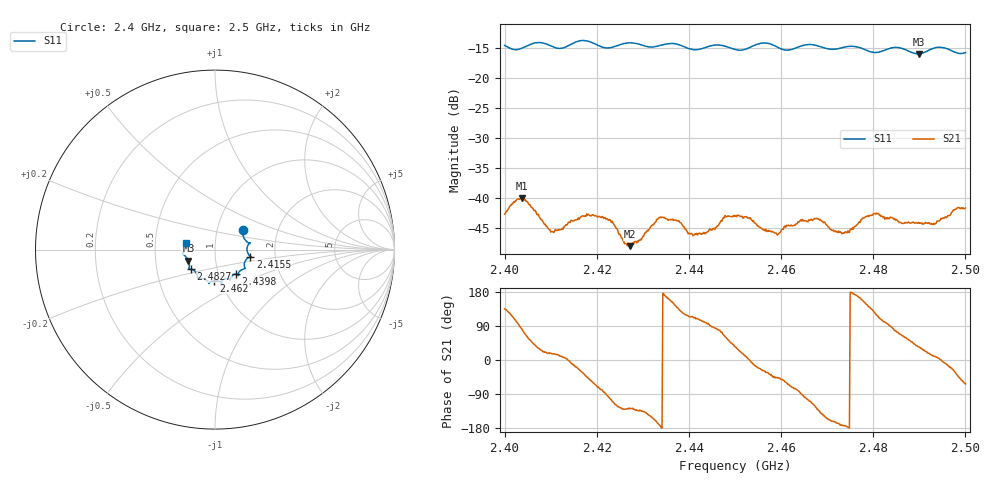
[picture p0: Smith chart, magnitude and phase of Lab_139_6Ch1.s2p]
# Hz S RI R 50
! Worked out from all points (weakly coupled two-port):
!   601 points, 2.4 GHz to 2.5 GHz, reference 50 ohm
!   highest |S21| = -40.06 dB at 2.4037 GHz (marker M1); lowest = -48.1 dB at 2.4272 GHz (marker M2)
!   lowest |S11| = -15.9 dB at 2.4898 GHz (marker M3), VSWR 1.38, Z = 36.8 - j4.61 ohm
!   |S11| at or under -10 dB: start of sweep to end of sweep
!   S12 and S22 are empty: the file has one direction only
!   S11 on the Smith chart (normalised r, x): 2.4 GHz: 1.33, +0.29; 2.4155 GHz: 1.49, -0.12; 2.4398 GHz: 1.21, -0.34; 2.462 GHz: 0.93, -0.33; 2.4827 GHz: 0.75, -0.17; 2.5 GHz: 0.72, +0.06
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2.4e9  0.1553 0.1067  -0.00513 0.00518  0 0  0 0
2.403667e9  0.171 0.0502  0.00116 0.00986  0 0  0 0
2.410167e9  0.1841 0.0251  0.00499 0.00154  0 0  0 0
2.4155e9  0.1978 -0.0395  0.00622 -0.00198  0 0  0 0
2.416667e9  0.2026 -0.0427  0.00596 -0.00358  0 0  0 0
2.422833e9  0.164 -0.0746  -0.00129 -0.00644  0 0  0 0
2.427167e9  0.1688 -0.1039  -0.00248 -0.00305  0 0  0 0
2.433333e9  0.1296 -0.1343  -0.00654 -0.0014  0 0  0 0
2.4375e9  0.1303 -0.142  -0.00481 0.00427  0 0  0 0
2.439833e9  0.1151 -0.1358  -0.00224 0.00447  0 0  0 0
2.443333e9  0.087 -0.1577  -0.000876 0.00501  0 0  0 0
2.45e9  0.0649 -0.1619  0.00574 0.00399  0 0  0 0
2.459e9  0.0312 -0.1814  0.00346 -0.00367  0 0  0 0
2.462e9  -0.00523 -0.1732  0.0021 -0.00542  0 0  0 0
2.466667e9  -0.0347 -0.1884  -0.00264 -0.00594  0 0  0 0
2.473667e9  -0.0866 -0.1601  -0.005 -0.0006  0 0  0 0
2.478833e9  -0.1025 -0.1354  -0.00565 0.00421  0 0  0 0
2.482667e9  -0.1348 -0.1085  -0.00104 0.00669  0 0  0 0
2.483333e9  -0.14 -0.1082  -0.000376 0.00667  0 0  0 0
2.489833e9  -0.1482 -0.061  0.00511 0.00355  0 0  0 0
2.494333e9  -0.1808 -0.0213  0.00637 0.000381  0 0  0 0
2.5e9  -0.1592 0.0391  0.00369 -0.00734  0 0  0 0
